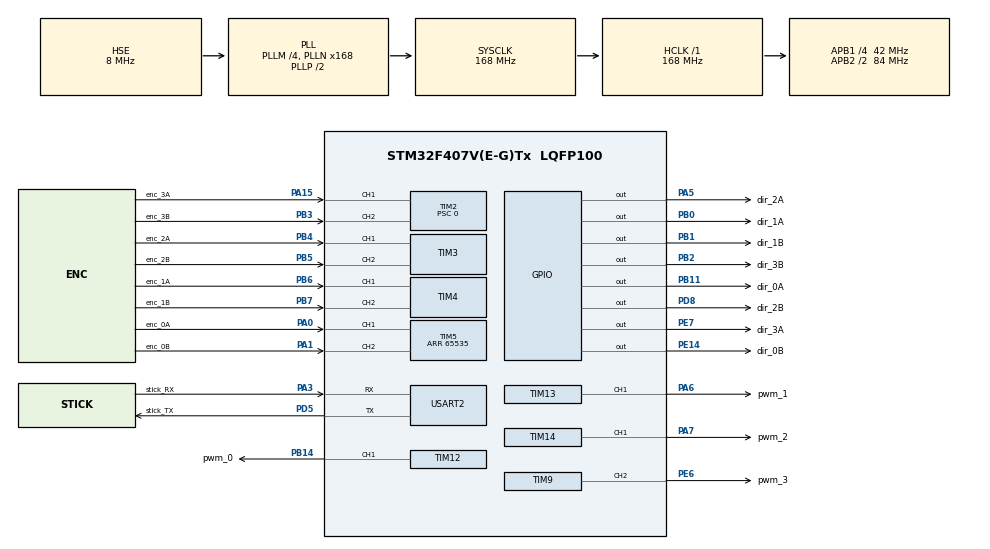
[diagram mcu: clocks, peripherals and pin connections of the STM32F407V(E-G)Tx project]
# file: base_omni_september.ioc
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Dma.Request0=USART2_RX
Dma.USART2_RX.0.Direction=DMA_PERIPH_TO_MEMORY
Dma.USART2_RX.0.FIFOMode=DMA_FIFOMODE_DISABLE
Dma.USART2_RX.0.Instance=DMA1_Stream5
Dma.USART2_RX.0.MemDataAlignment=DMA_MDATAALIGN_BYTE
Dma.USART2_RX.0.MemInc=DMA_MINC_ENABLE
Dma.USART2_RX.0.Mode=DMA_CIRCULAR
Dma.USART2_RX.0.PeriphDataAlignment=DMA_PDATAALIGN_BYTE
Dma.USART2_RX.0.PeriphInc=DMA_PINC_DISABLE
Dma.USART2_RX.0.Priority=DMA_PRIORITY_LOW
Mcu.Family=STM32F4
Mcu.Name=STM32F407V(E-G)Tx
Mcu.Package=LQFP100
NVIC.DMA1_Stream5_IRQn=true\:0\:0\:false\:false\:true\:false\:true
NVIC.PriorityGroup=NVIC_PRIORITYGROUP_4
NVIC.TIM6_DAC_IRQn=true\:0\:0\:false\:false\:true\:true\:true
NVIC.TIM7_IRQn=true\:0\:0\:false\:false\:true\:true\:true
NVIC.USART2_IRQn=true\:0\:0\:false\:false\:true\:true\:true
PA0-WKUP.GPIO_Label=enc_0A
PA0-WKUP.Signal=S_TIM5_CH1
PA1.GPIO_Label=enc_0B
PA1.Signal=S_TIM5_CH2
PA13.Mode=Serial_Wire
PA13.Signal=SYS_JTMS-SWDIO
PA14.Mode=Serial_Wire
PA14.Signal=SYS_JTCK-SWCLK
PA15.GPIO_Label=enc_3A
PA15.Signal=S_TIM2_CH1_ETR
PA3.GPIO_Label=stick_RX
PA3.Mode=Asynchronous
PA3.Signal=USART2_RX
PA5.GPIO_Label=dir_2A
PA5.Signal=GPIO_Output
PA6.GPIO_Label=pwm_1
PA6.Signal=S_TIM13_CH1
PA7.GPIO_Label=pwm_2
PA7.Signal=S_TIM14_CH1
PB0.GPIO_Label=dir_1A
PB0.Signal=GPIO_Output
PB1.GPIO_Label=dir_1B
PB1.Signal=GPIO_Output
PB11.GPIO_Label=dir_0A
PB11.Signal=GPIO_Output
PB14.GPIO_Label=pwm_0
PB14.Signal=S_TIM12_CH1
PB2.GPIO_Label=dir_3B
PB2.Signal=GPIO_Output
PB3.GPIO_Label=enc_3B
PB3.Signal=S_TIM2_CH2
PB4.GPIO_Label=enc_2A
PB4.Signal=S_TIM3_CH1
PB5.GPIO_Label=enc_2B
PB5.Signal=S_TIM3_CH2
PB6.GPIO_Label=enc_1A
PB6.Signal=S_TIM4_CH1
PB7.GPIO_Label=enc_1B
PB7.Signal=S_TIM4_CH2
PD5.GPIO_Label=stick_TX
PD5.Mode=Asynchronous
PD5.Signal=USART2_TX
PD8.GPIO_Label=dir_2B
PD8.Signal=GPIO_Output
PE14.GPIO_Label=dir_0B
PE14.Signal=GPIO_Output
PE6.GPIO_Label=pwm_3
PE6.Signal=S_TIM9_CH2
PE7.GPIO_Label=dir_3A
PE7.Signal=GPIO_Output
PH0-OSC_IN.Mode=HSE-External-Oscillator
PH0-OSC_IN.Signal=RCC_OSC_IN
PH1-OSC_OUT.Mode=HSE-External-Oscillator
PH1-OSC_OUT.Signal=RCC_OSC_OUT
ProjectManager.HeapSize=0x200
ProjectManager.StackSize=0x400
ProjectManager.TargetToolchain=STM32CubeIDE
RCC.48MHZClocksFreq_Value=84000000
RCC.AHBFreq_Value=168000000
RCC.APB1CLKDivider=RCC_HCLK_DIV4
RCC.APB1Freq_Value=42000000
RCC.APB1TimFreq_Value=84000000
RCC.APB2CLKDivider=RCC_HCLK_DIV2
RCC.APB2Freq_Value=84000000
RCC.APB2TimFreq_Value=168000000
RCC.CortexFreq_Value=168000000
RCC.HCLKFreq_Value=168000000
RCC.HSE_VALUE=8000000
RCC.HSI_VALUE=16000000
RCC.LSE_VALUE=32768
RCC.PLLM=4
RCC.PLLN=168
RCC.PLLSourceVirtual=RCC_PLLSOURCE_HSE
RCC.SYSCLKFreq_VALUE=168000000
RCC.SYSCLKSource=RCC_SYSCLKSOURCE_PLLCLK
RCC.VCOOutputFreq_Value=336000000
SH.S_TIM12_CH1.0=TIM12_CH1,PWM Generation1 CH1
SH.S_TIM13_CH1.0=TIM13_CH1,PWM Generation1 CH1
SH.S_TIM14_CH1.0=TIM14_CH1,PWM Generation1 CH1
SH.S_TIM2_CH1_ETR.0=TIM2_CH1,Encoder_Interface
SH.S_TIM2_CH2.0=TIM2_CH2,Encoder_Interface
SH.S_TIM3_CH1.0=TIM3_CH1,Encoder_Interface
SH.S_TIM3_CH2.0=TIM3_CH2,Encoder_Interface
SH.S_TIM4_CH1.0=TIM4_CH1,Encoder_Interface
SH.S_TIM4_CH2.0=TIM4_CH2,Encoder_Interface
SH.S_TIM5_CH1.0=TIM5_CH1,Encoder_Interface
SH.S_TIM5_CH2.0=TIM5_CH2,Encoder_Interface
SH.S_TIM9_CH2.0=TIM9_CH2,PWM Generation2 CH2
TIM12.Channel-PWM\ Generation1\ CH1=TIM_CHANNEL_1
TIM12.Period=499
TIM12.Prescaler=16
TIM13.Channel=TIM_CHANNEL_1
TIM13.Period=499
TIM13.Prescaler=16
TIM14.Channel=TIM_CHANNEL_1
TIM14.Period=499
TIM14.Prescaler=16
TIM2.Period=65535
TIM2.Prescaler=0
TIM5.Period=65535
TIM6.Period=999
TIM6.Prescaler=1679
TIM7.Period=999
TIM7.Prescaler=83
TIM9.Channel-PWM\ Generation2\ CH2=TIM_CHANNEL_2
TIM9.Period=499
TIM9.Prescaler=33
USART2.VirtualMode=VM_ASYNC
VP_TIM13_VS_ClockSourceINT.Mode=Enable_Timer
VP_TIM14_VS_ClockSourceINT.Mode=Enable_Timer
VP_TIM6_VS_ClockSourceINT.Mode=Enable_Timer
VP_TIM7_VS_ClockSourceINT.Mode=Enable_Timer
board=custom

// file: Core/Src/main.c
/* USER CODE BEGIN Header */
/**
  ******************************************************************************
  * @file           : main.c
  * @brief          : Main program body
  ******************************************************************************
  * @attention
  *
  * Copyright (c) 2022 STMicroelectronics.
  * All rights reserved.
  *
  * This software is licensed under terms that can be found in the LICENSE file
  * in the root directory of this software component.
  * If no LICENSE file comes with this software, it is provided AS-IS.
  *
  ******************************************************************************
  */
/* USER CODE END Header */
#include "main.h"
#include "dma.h"
#include "tim.h"
#include "usart.h"
#include "gpio.h"

/* USER CODE BEGIN Includes */
#include "motor.h"

/* USER CODE END Includes */

/* USER CODE BEGIN PD */
#define JSSL 0x1
#define JSL3 0x2
#define JSR3 0x4
#define JSST 0x8
#define JSUP 0x10
#define JSRG 0x20
#define JSDW 0x40
#define JSLF 0x80
#define JSL2 0x100
#define JSR2 0x200
#define JSL1 0x400
#define JSR1 0x800
#define JSTR 0x1000
#define JSCR 0x2000
#define JSXX 0x4000
#define JSSQ 0x8000
/* USER CODE END PD */

/* USER CODE BEGIN PV */
float rasio_speed = 0.5;
int mode = 0;
int latch = 0, latch_XX = 0, latch_TR = 0;
int8_t joystick_status;
int16_t joystick_analog [3];
uint8_t joystick_value[9];
uint16_t joystick_button;
/* USER CODE END PV */

void SystemClock_Config(void);
/* USER CODE BEGIN PFP */
void HAL_UART_RxHalfCpltCallback(UART_HandleTypeDef* huart){
	if(huart->Instance==USART2){
		if (joystick_value[0] == 'i' && joystick_value[1] == 't' && joystick_value[2] == 's'){
			joystick_status = 1;
		}
		else{
			joystick_status= 0;
			HAL_UART_DMAStop(&huart2);
			HAL_UART_Receive_DMA(&huart2, joystick_value, 9);
		}
	}
}

void input_analog(){
	if (joystick_status == 1){
		joystick_button = ~(joystick_value[3] + (joystick_value[4]<<8));
		joystick_analog[0]= (joystick_value [7]-127);
		joystick_analog[1] = (127-joystick_value [8]);
		joystick_analog[2] = (joystick_value [5]-127);
	}
	else {
		joystick_analog[0] = 0;
		joystick_analog[1] = 0;
		joystick_analog[2] = 0;
	}
	if(joystick_button == JSR1) {
		latch = 1;
		rasio_speed = 0.75;
	}
	else if(joystick_button != JSR1 && latch == 1){
		latch = 0;
		rasio_speed = 0.5;
	}

	if(joystick_button == JSSQ)mode = 0;
	else if(joystick_button == JSCR) mode = 1;

	if(joystick_button == JSXX && latch_XX == 1){
		latch_XX = 0;
		rasio_speed += 0.01;
	}
	else if(joystick_button != JSXX && latch_XX == 0)latch_XX = 1;

	if (joystick_button == JSTR && latch_TR == 1){
		latch_TR = 0;
		rasio_speed -= 0.01;
	}
	else if (joystick_button != JSTR && latch_TR == 0)latch_TR = 1;

	if(rasio_speed >= 0.8) rasio_speed = 0.8;
	else if(rasio_speed <= 0) rasio_speed = 0;

}
/* USER CODE END PFP */

int main(void)
{

  /* MCU Configuration--------------------------------------------------------*/

  /* Reset of all peripherals, Initializes the Flash interface and the Systick. */
  HAL_Init();

  /* Configure the system clock */
  SystemClock_Config();

  /* Initialize all configured peripherals */
  MX_GPIO_Init();
  MX_TIM2_Init();
  MX_TIM3_Init();
  MX_TIM4_Init();
  MX_TIM5_Init();
  MX_TIM6_Init();
  MX_TIM7_Init();
  MX_TIM9_Init();
  MX_TIM12_Init();
  MX_TIM13_Init();
  MX_DMA_Init();
  MX_USART2_UART_Init();
  MX_TIM14_Init();
  /* USER CODE BEGIN 2 */
  ///--------------start encoder dan timer pwm----------------
  HAL_TIM_Base_Start_IT(&htim6);
  HAL_TIM_Base_Start_IT(&htim7);
  HAL_TIM_PWM_Start(&htim12, TIM_CHANNEL_1);
  HAL_TIM_PWM_Start(&htim13, TIM_CHANNEL_1);
  HAL_TIM_PWM_Start(&htim14, TIM_CHANNEL_1);
  HAL_TIM_PWM_Start(&htim9, TIM_CHANNEL_2);

  HAL_TIM_Encoder_Start(&htim2, TIM_CHANNEL_ALL);
  HAL_TIM_Encoder_Start(&htim3, TIM_CHANNEL_ALL);
  HAL_TIM_Encoder_Start(&htim4, TIM_CHANNEL_ALL);
  HAL_TIM_Encoder_Start(&htim5, TIM_CHANNEL_ALL);

  HAL_UART_Receive_DMA(&huart2, joystick_value, 9);
  /* USER CODE END 2 */

  /* Infinite loop */
  while (1)
  {

  }
}

void SystemClock_Config(void)
{
  RCC_OscInitTypeDef RCC_OscInitStruct = {0};
  RCC_ClkInitTypeDef RCC_ClkInitStruct = {0};

  /** Configure the main internal regulator output voltage
  */
  __HAL_RCC_PWR_CLK_ENABLE();
  __HAL_PWR_VOLTAGESCALING_CONFIG(PWR_REGULATOR_VOLTAGE_SCALE1);
  /** Initializes the RCC Oscillators according to the specified parameters
  * in the RCC_OscInitTypeDef structure.
  */
  RCC_OscInitStruct.OscillatorType = RCC_OSCILLATORTYPE_HSE;
  RCC_OscInitStruct.HSEState = RCC_HSE_ON;
  RCC_OscInitStruct.PLL.PLLState = RCC_PLL_ON;
  RCC_OscInitStruct.PLL.PLLSource = RCC_PLLSOURCE_HSE;
  RCC_OscInitStruct.PLL.PLLM = 4;
  RCC_OscInitStruct.PLL.PLLN = 168;
  RCC_OscInitStruct.PLL.PLLP = RCC_PLLP_DIV2;
  RCC_OscInitStruct.PLL.PLLQ = 4;
  if (HAL_RCC_OscConfig(&RCC_OscInitStruct) != HAL_OK)
  {
    Error_Handler();
  }
  /** Initializes the CPU, AHB and APB buses clocks
  */
  RCC_ClkInitStruct.ClockType = RCC_CLOCKTYPE_HCLK|RCC_CLOCKTYPE_SYSCLK
                              |RCC_CLOCKTYPE_PCLK1|RCC_CLOCKTYPE_PCLK2;
  RCC_ClkInitStruct.SYSCLKSource = RCC_SYSCLKSOURCE_PLLCLK;
  RCC_ClkInitStruct.AHBCLKDivider = RCC_SYSCLK_DIV1;
  RCC_ClkInitStruct.APB1CLKDivider = RCC_HCLK_DIV4;
  RCC_ClkInitStruct.APB2CLKDivider = RCC_HCLK_DIV2;

  if (HAL_RCC_ClockConfig(&RCC_ClkInitStruct, FLASH_LATENCY_5) != HAL_OK)
  {
    Error_Handler();
  }
}

void Error_Handler(void)
{
  __disable_irq();
  while (1)
  {
  }
}
